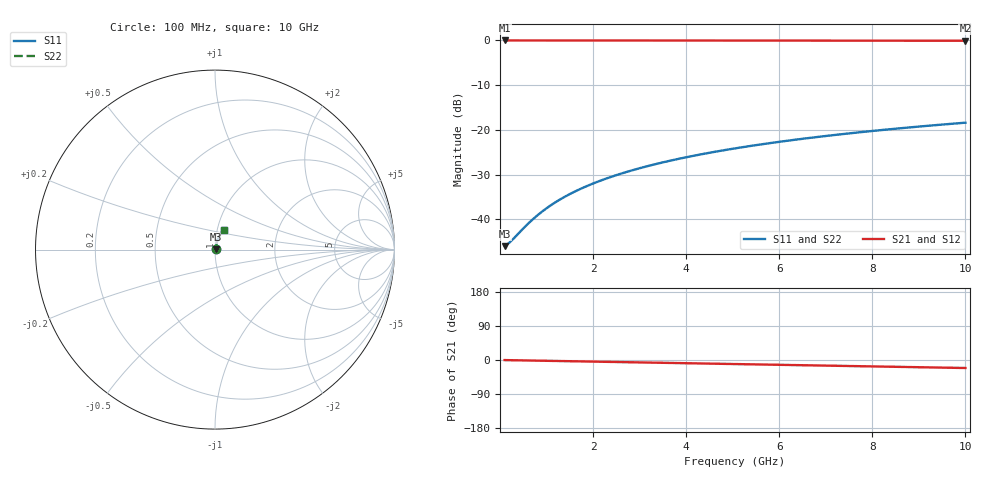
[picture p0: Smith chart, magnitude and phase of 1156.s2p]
# Hz S RI R 50.00
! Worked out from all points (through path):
!   100 points, 100 MHz to 10 GHz, reference 50 ohm
!   highest |S21| = -0.04 dB at 100 MHz (marker M1); lowest = -0.1 dB at 10 GHz (marker M2)
!   group delay of S21, straight-line fit = 5.87 ps
!   lowest |S11| = -46.0 dB at 100 MHz (marker M3), VSWR 1.01, Z = 50.5 + j0.123 ohm
!   |S11| at or under -10 dB: start of sweep to end of sweep
!   |S22| runs from -46.0 to -18.4 dB; largest |S21 - S12| = 0
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1e8  0.00488 0.00122  0.9951 -0.00368  0.9951 -0.00368  0.00488 0.00122
2e8  0.00492 0.00243  0.9951 -0.00736  0.9951 -0.00736  0.00492 0.00243
3e8  0.00497 0.00365  0.995 -0.011  0.995 -0.011  0.00497 0.00365
5e8  0.00507 0.00607  0.9948 -0.0184  0.9948 -0.0184  0.00507 0.00607
7e8  0.00521 0.0085  0.9946 -0.0257  0.9946 -0.0257  0.00521 0.0085
8e8  0.00528 0.00971  0.9945 -0.0294  0.9945 -0.0294  0.00528 0.00971
1e9  0.00547 0.0121  0.9942 -0.0368  0.9942 -0.0368  0.00547 0.0121
1.2e9  0.00568 0.0146  0.9939 -0.0441  0.9939 -0.0441  0.00568 0.0146
1.4e9  0.00593 0.017  0.9934 -0.0515  0.9934 -0.0515  0.00593 0.017
1.6e9  0.00621 0.0194  0.993 -0.0588  0.993 -0.0588  0.00621 0.0194
1.8e9  0.00653 0.0218  0.9924 -0.0661  0.9924 -0.0661  0.00653 0.0218
2.1e9  0.00707 0.0254  0.9915 -0.0771  0.9915 -0.0771  0.00707 0.0254
2.5e9  0.00792 0.0302  0.9901 -0.0918  0.9901 -0.0918  0.00792 0.0302
2.9e9  0.0089 0.0349  0.9885 -0.1064  0.9885 -0.1064  0.0089 0.0349
3.4e9  0.0103 0.0408  0.9861 -0.1246  0.9861 -0.1246  0.0103 0.0408
4.2e9  0.0131 0.0501  0.9815 -0.1536  0.9815 -0.1536  0.0131 0.0501
5.1e9  0.0168 0.0604  0.9752 -0.186  0.9752 -0.186  0.0168 0.0604
5.9e9  0.0206 0.0692  0.9686 -0.2145  0.9686 -0.2145  0.0206 0.0692
6.7e9  0.025 0.0779  0.9611 -0.2428  0.9611 -0.2428  0.025 0.0779
7.5e9  0.0299 0.0862  0.9527 -0.2708  0.9527 -0.2708  0.0299 0.0862
8.4e9  0.036 0.0952  0.9422 -0.3019  0.9422 -0.3019  0.036 0.0952
1e10  0.0481 0.1101  0.9209 -0.356  0.9209 -0.356  0.0481 0.1101
